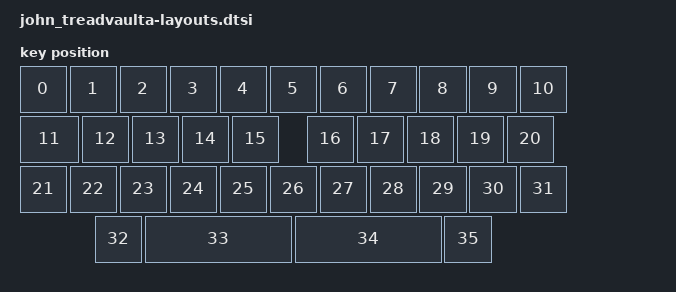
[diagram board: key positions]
#include <physical_layouts.dtsi>

/ {
    physical_layout_john_treadvaulta: physical_layout_john_treadvaulta {
        compatible = "zmk,physical-layout";
        display-name = "John Treadvaulta";
        keys  //                     w   h    x    y     rot    rx    ry
            = <&key_physical_attrs 100 100    0    0       0     0     0>
            , <&key_physical_attrs 100 100  100    0       0   100     0>
            , <&key_physical_attrs 100 100  200    0       0   200     0>
            , <&key_physical_attrs 100 100  300    0       0   300     0>
            , <&key_physical_attrs 100 100  400    0       0   400     0>
            , <&key_physical_attrs 100 100  500    0       0   500     0>
            , <&key_physical_attrs 100 100  600    0       0   600     0>
            , <&key_physical_attrs 100 100  700    0       0   700     0>
            , <&key_physical_attrs 100 100  800    0       0   800     0>
            , <&key_physical_attrs 100 100  900    0       0   900     0>
            , <&key_physical_attrs 100 100 1000    0       0  1000     0>
            , <&key_physical_attrs 125 100    0  100       0     0   100>
            , <&key_physical_attrs 100 100  125  100       0   125   100>
            , <&key_physical_attrs 100 100  225  100       0   225   100>
            , <&key_physical_attrs 100 100  325  100       0   325   100>
            , <&key_physical_attrs 100 100  425  100       0   425   100>
            , <&key_physical_attrs 100 100  575  100       0   575   100>
            , <&key_physical_attrs 100 100  675  100       0   675   100>
            , <&key_physical_attrs 100 100  775  100       0   775   100>
            , <&key_physical_attrs 100 100  875  100       0   875   100>
            , <&key_physical_attrs 100 100  975  100       0   975   100>
            , <&key_physical_attrs 100 100    0  200       0     0   200>
            , <&key_physical_attrs 100 100  100  200       0   100   200>
            , <&key_physical_attrs 100 100  200  200       0   200   200>
            , <&key_physical_attrs 100 100  300  200       0   300   200>
            , <&key_physical_attrs 100 100  400  200       0   400   200>
            , <&key_physical_attrs 100 100  500  200       0   500   200>
            , <&key_physical_attrs 100 100  600  200       0   600   200>
            , <&key_physical_attrs 100 100  700  200       0   700   200>
            , <&key_physical_attrs 100 100  800  200       0   800   200>
            , <&key_physical_attrs 100 100  900  200       0   900   200>
            , <&key_physical_attrs 100 100 1000  200       0  1000   200>
            , <&key_physical_attrs 100 100  150  300       0   150   300>
            , <&key_physical_attrs 300 100  250  300       0   250   300>
            , <&key_physical_attrs 300 100  550  300       0   550   300>
            , <&key_physical_attrs 100 100  850  300       0   850   300>
            ;
    };
};
